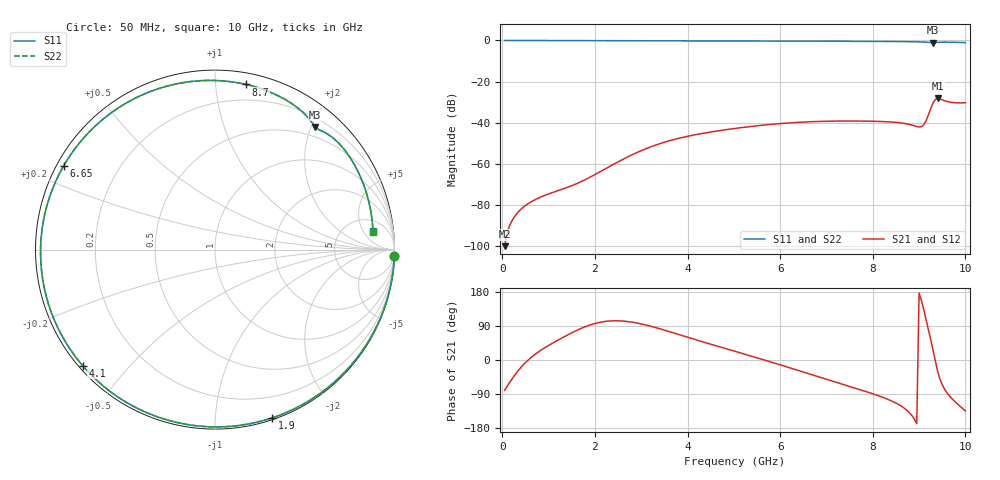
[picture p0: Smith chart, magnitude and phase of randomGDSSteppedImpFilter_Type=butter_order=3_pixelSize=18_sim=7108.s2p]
! freq	dB(S11)	phase(S11)	dB(S12)	phase(S12)
!  dB(S21)	phase(S21)	dB(S22)	phase(S22)
!S-par simulation data
#  GHz  S  DB  R 50
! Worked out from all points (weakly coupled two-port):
!   200 points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, 50 MHz to 10 GHz, reference 50 ohm
!   highest |S21| = -28.25 dB at 9.4 GHz (marker M1); lowest = -100.1 dB at 50 MHz (marker M2)
!   lowest |S11| = -1.1 dB at 9.3 GHz (marker M3), VSWR 16.00, Z = 16.7 + j103 ohm
!   |S11| at or under -10 dB: nowhere
!   |S22| runs from -1.1 to 0.0 dB; largest |S21 - S12| = 0
!   S11 on the Smith chart (normalised r, x): 50 MHz: 0, -58; 1.9 GHz: 0.01, -1.40; 4.1 GHz: 0.01, -0.38; 6.65 GHz: 0.02, +0.26; 8.7 GHz: 0.08, +1.20; 10 GHz: 9, +8
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0.05  -0.00 -2.0  -100.15 -80.1  -100.15 -80.1  -0.00 -2.0
0.5  -0.02 -19.6  -80.36 -6.9  -80.36 -6.9  -0.02 -19.6
1.15  -0.05 -44.3  -73.54 48.9  -73.54 48.9  -0.05 -44.3
1.75  -0.08 -66.0  -68.22 85.9  -68.22 85.9  -0.08 -66.0
1.9  -0.09 -71.2  -66.51 92.7  -66.51 92.7  -0.09 -71.2
2.6  -0.11 -94.4  -57.92 102.8  -57.92 102.8  -0.11 -94.4
3.4  -0.14 -118.8  -50.25 82.5  -50.25 82.5  -0.14 -118.8
4.1  -0.17 -138.8  -46.19 56.4  -46.19 56.4  -0.17 -138.8
5.05  -0.21 -164.7  -42.75 22.0  -42.75 22.0  -0.21 -164.7
5.85  -0.26 173.6  -40.75 -7.1  -40.75 -7.1  -0.26 173.6
6.65  -0.32 151.1  -39.57 -37.5  -39.57 -37.5  -0.32 151.1
6.7  -0.32 149.6  -39.53 -39.4  -39.53 -39.4  -0.32 149.6
7.5  -0.39 124.9  -39.21 -69.6  -39.21 -69.6  -0.39 124.8
8.35  -0.50 94.1  -39.63 -105.1  -39.63 -105.1  -0.50 94.1
8.7  -0.57 79.3  -40.46 -129.0  -40.46 -129.0  -0.57 79.2
9.05  -0.73 62.6  -41.97 157.2  -41.97 157.2  -0.73 62.5
9.15  -0.83 57.5  -39.10 106.9  -39.10 106.9  -0.83 57.4
9.3  -1.09 50.8  -30.46 26.1  -30.46 26.1  -1.08 50.7
9.35  -1.07 49.0  -28.74 -3.3  -28.74 -3.3  -1.06 48.9
9.4  -0.96 46.8  -28.25 -29.6  -28.25 -29.6  -0.96 46.7
9.7  -0.85 27.7  -30.16 -100.9  -30.16 -100.9  -0.85 27.5
10  -1.05 6.7  -30.35 -134.6  -30.35 -134.6  -1.05 6.5
